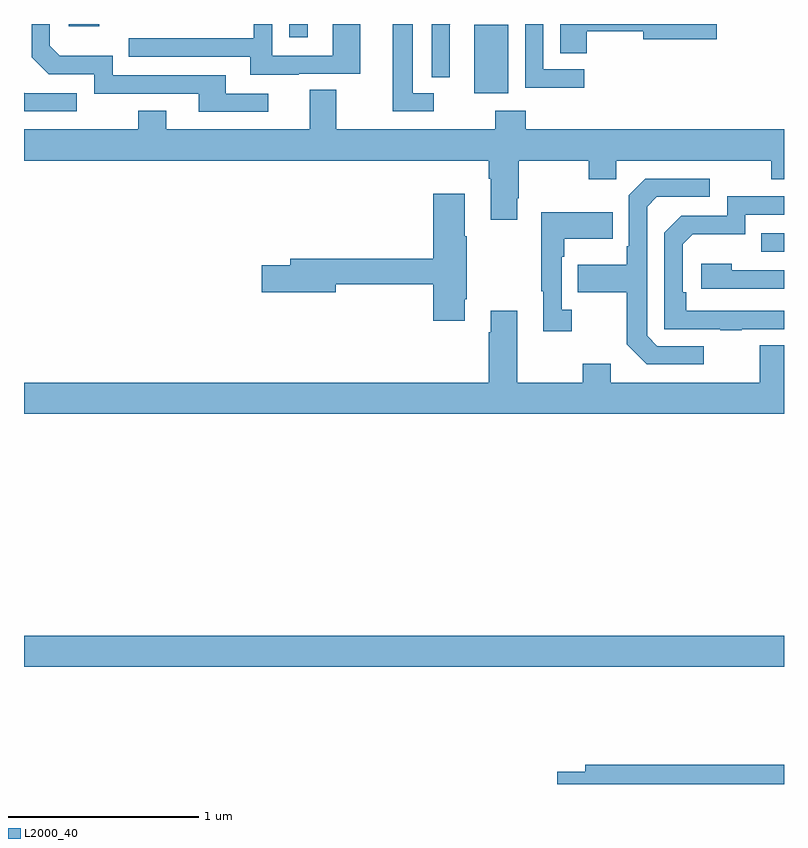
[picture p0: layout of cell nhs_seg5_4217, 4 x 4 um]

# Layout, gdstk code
import gdstk
lib = gdstk.Library(unit=1e-6, precision=1e-09)
def R(c, l, rs):  # rectangles x0, y0, x1, y1
    for r in rs: c.add(gdstk.rectangle(r[:2], r[2:], *l))
def P(c, l, *ps):  # polygons
    for p in ps: c.add(gdstk.Polygon(p, *l))
L2000_40 = (2000, 40)

nhs_seg5_4217 = lib.new_cell('nhs_seg5_4217')
R(nhs_seg5_4217, L2000_40, [(359,867.416,363,867.58), (362.881,869.601,363,869.697), (361.37,870.434,361.549,870.795), (360.396,870.729,360.493,870.799), (359.235,870.788,359.396,870.799)])
P(nhs_seg5_4217, L2000_40, [(360.286,870.432),(360.061,870.432),(360.061,870.528),(359.466,870.528),(359.466,870.631),(359.189,870.631),(359.136,870.684),(359.136,870.799),(359.04,870.799),(359.04,870.624),(359.13,870.534),(359.37,870.534),(359.37,870.432),(359.921,870.432),(359.921,870.336),(360.286,870.336)],
  [(360.445,870.537),(360.769,870.537),(360.769,870.799),(360.624,870.799),(360.624,870.633),(360.306,870.633),(360.306,870.799),(360.21,870.799),(360.21,870.723),(359.551,870.723),(359.551,870.627),(360.191,870.627),(360.191,870.533),(360.445,870.533)],
  [(361.962,870.76),(362.258,870.76),(362.258,870.718),(362.647,870.718),(362.647,870.799),(361.823,870.799),(361.823,870.646),(361.962,870.646)],
  [(361.948,870.561),(361.734,870.561),(361.734,870.799),(361.638,870.799),(361.638,870.463),(361.948,870.463)],
  [(361.242,870.674),(361.241,870.674),(361.241,870.797),(361.243,870.799),(361.146,870.799),(361.146,870.52),(361.242,870.52)],
  [(361.156,870.435),(361.045,870.435),(361.045,870.799),(360.941,870.799),(360.941,870.339),(361.156,870.339)],
  [(361.597,869.881),(361.605,869.881),(361.605,870.08),(361.972,870.08),(361.972,869.981),(362.118,869.981),(362.118,870.08),(362.932,870.08),(362.932,869.981),(363,869.981),(363,870.244),(361.64,870.244),(361.64,870.343),(361.48,870.343),(361.48,870.244),(360.643,870.244),(360.643,870.452),(360.503,870.452),(360.503,870.244),(359.749,870.244),(359.749,870.343),(359.602,870.343),(359.602,870.244),(359,870.244),(359,870.08),(361.445,870.08),(361.445,869.984),(361.457,869.984),(361.457,869.769),(361.597,869.769)],
  [(359.278,870.435),(359.001,870.435),(359,870.436),(359,870.339),(359.278,870.339)],
  [(362.578,869.103),(362.334,869.103),(362.28,869.157),(362.28,869.838),(362.331,869.889),(362.608,869.889),(362.608,869.985),(362.271,869.985),(362.184,869.898),(362.184,869.629),(362.172,869.629),(362.172,869.533),(361.915,869.533),(361.915,869.386),(362.172,869.386),(362.172,869.113),(362.277,869.007),(362.578,869.007)],
  [(361.321,869.35),(361.329,869.35),(361.329,869.681),(361.321,869.681),(361.321,869.905),(361.154,869.905),(361.154,869.564),(360.401,869.564),(360.401,869.528),(360.252,869.528),(360.252,869.386),(360.64,869.386),(360.64,869.428),(361.154,869.428),(361.154,869.238),(361.321,869.238)],
  [(362.777,869.193),(363,869.193),(363,869.289),(362.486,869.289),(362.486,869.386),(362.466,869.386),(362.466,869.64),(362.519,869.693),(362.796,869.693),(362.796,869.796),(363,869.796),(363,869.892),(362.7,869.892),(362.7,869.79),(362.46,869.79),(362.37,869.7),(362.37,869.193),(362.665,869.193),(362.665,869.188),(362.777,869.188)],
  [(361.882,869.294),(361.83,869.294),(361.83,869.573),(361.843,869.573),(361.843,869.669),(362.099,869.669),(362.099,869.809),(361.722,869.809),(361.722,869.393),(361.733,869.393),(361.733,869.181),(361.882,869.181)],
  [(363,869.502),(362.726,869.502),(362.726,869.536),(362.565,869.536),(362.565,869.406),(363,869.406)],
  [(363,869.107),(362.873,869.107),(362.873,868.912),(362.089,868.912),(362.089,869.011),(361.942,869.011),(361.942,868.912),(361.597,868.912),(361.597,869.29),(361.457,869.29),(361.457,869.177),(361.445,869.177),(361.445,868.912),(359,868.912),(359,868.748),(363,868.748)],
  [(363,866.9),(361.955,866.9),(361.955,866.864),(361.806,866.864),(361.806,866.799),(363,866.799)])

lib.write_gds('nhs_seg5_4217.gds')
